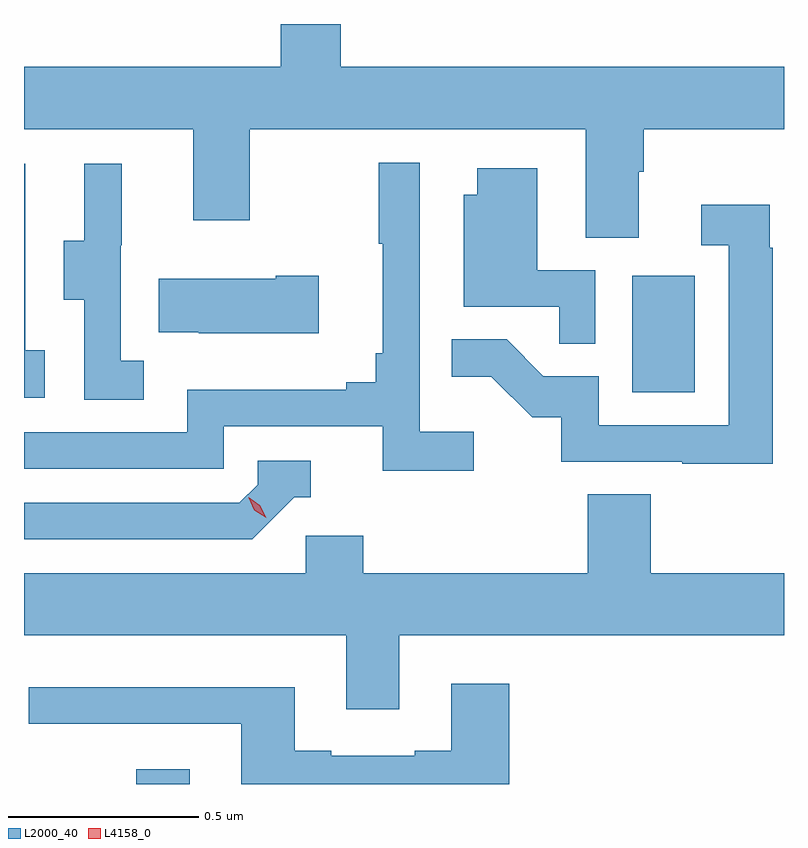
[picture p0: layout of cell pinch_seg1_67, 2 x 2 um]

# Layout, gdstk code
import gdstk
lib = gdstk.Library(unit=1e-6, precision=1e-09)
def R(c, l, rs):  # rectangles x0, y0, x1, y1
    for r in rs: c.add(gdstk.rectangle(r[:2], r[2:], *l))
def P(c, l, *ps):  # polygons
    for p in ps: c.add(gdstk.Polygon(p, *l))
L2000_40 = (2000, 40)
L4158_0 = (4158, 0)

pinch_seg1_67 = lib.new_cell('pinch_seg1_67')
R(pinch_seg1_67, L2000_40, [(1026.083,569.989,1026.223,570.028), (1027.388,571.02,1027.552,571.327)])
P(pinch_seg1_67, L2000_40, [(1027.405,571.6),(1027.418,571.6),(1027.418,571.712),(1027.787,571.712),(1027.787,571.876),(1026.62,571.876),(1026.62,571.989),(1026.463,571.989),(1026.463,571.876),(1025.787,571.876),(1025.787,571.712),(1026.233,571.712),(1026.233,571.473),(1026.381,571.473),(1026.381,571.712),(1027.265,571.712),(1027.265,571.426),(1027.405,571.426)],
  [(1026.97,570.916),(1026.828,570.916),(1026.828,571.624),(1026.72,571.624),(1026.72,571.411),(1026.731,571.411),(1026.731,571.123),(1026.712,571.123),(1026.712,571.046),(1026.635,571.046),(1026.635,571.027),(1026.216,571.027),(1026.216,570.915),(1025.787,570.915),(1025.787,570.819),(1026.312,570.819),(1026.312,570.93),(1026.731,570.93),(1026.731,570.814),(1026.97,570.814)],
  [(1026.102,571.103),(1026.042,571.103),(1026.042,571.407),(1026.044,571.407),(1026.044,571.621),(1025.945,571.621),(1025.945,571.419),(1025.891,571.419),(1025.891,571.264),(1025.946,571.264),(1025.946,571),(1026.102,571)],
  [(1025.842,571.13),(1025.79,571.13),(1025.79,571.621),(1025.787,571.621),(1025.787,571.005),(1025.842,571.005)],
  [(1027.29,571.341),(1027.138,571.341),(1027.138,571.609),(1026.98,571.609),(1026.98,571.54),(1026.944,571.54),(1026.944,571.245),(1027.195,571.245),(1027.195,571.147),(1027.29,571.147)],
  [(1027.757,571.4),(1027.75,571.4),(1027.75,571.513),(1027.569,571.513),(1027.569,571.407),(1027.641,571.407),(1027.641,570.933),(1027.299,570.933),(1027.299,571.062),(1027.154,571.062),(1027.057,571.159),(1026.913,571.159),(1026.913,571.061),(1027.017,571.061),(1027.124,570.954),(1027.201,570.954),(1027.201,570.837),(1027.519,570.837),(1027.519,570.832),(1027.757,570.832)],
  [(1026.562,571.326),(1026.449,571.326),(1026.449,571.318),(1026.142,571.318),(1026.142,571.178),(1026.247,571.178),(1026.247,571.175),(1026.562,571.175)],
  [(1026.498,570.744),(1026.541,570.744),(1026.541,570.84),(1026.402,570.84),(1026.402,570.777),(1026.354,570.729),(1025.787,570.729),(1025.787,570.633),(1026.387,570.633)],
  [(1026.775,570.38),(1027.787,570.38),(1027.787,570.544),(1027.436,570.544),(1027.436,570.752),(1027.271,570.752),(1027.271,570.544),(1026.68,570.544),(1026.68,570.642),(1026.528,570.642),(1026.528,570.544),(1025.787,570.544),(1025.787,570.38),(1026.635,570.38),(1026.635,570.186),(1026.775,570.186)],
  [(1027.064,570.253),(1026.911,570.253),(1026.911,570.076),(1026.815,570.076),(1026.815,570.063),(1026.595,570.063),(1026.595,570.076),(1026.499,570.076),(1026.499,570.244),(1025.799,570.244),(1025.799,570.147),(1026.359,570.147),(1026.359,569.989),(1027.064,569.989)])
P(pinch_seg1_67, L4158_0, [(1026.424,570.69),(1026.393,570.71),(1026.378,570.742),(1026.378,570.743),(1026.378,570.743),(1026.408,570.723),(1026.424,570.69),(1026.424,570.69)])

lib.write_gds('pinch_seg1_67.gds')
